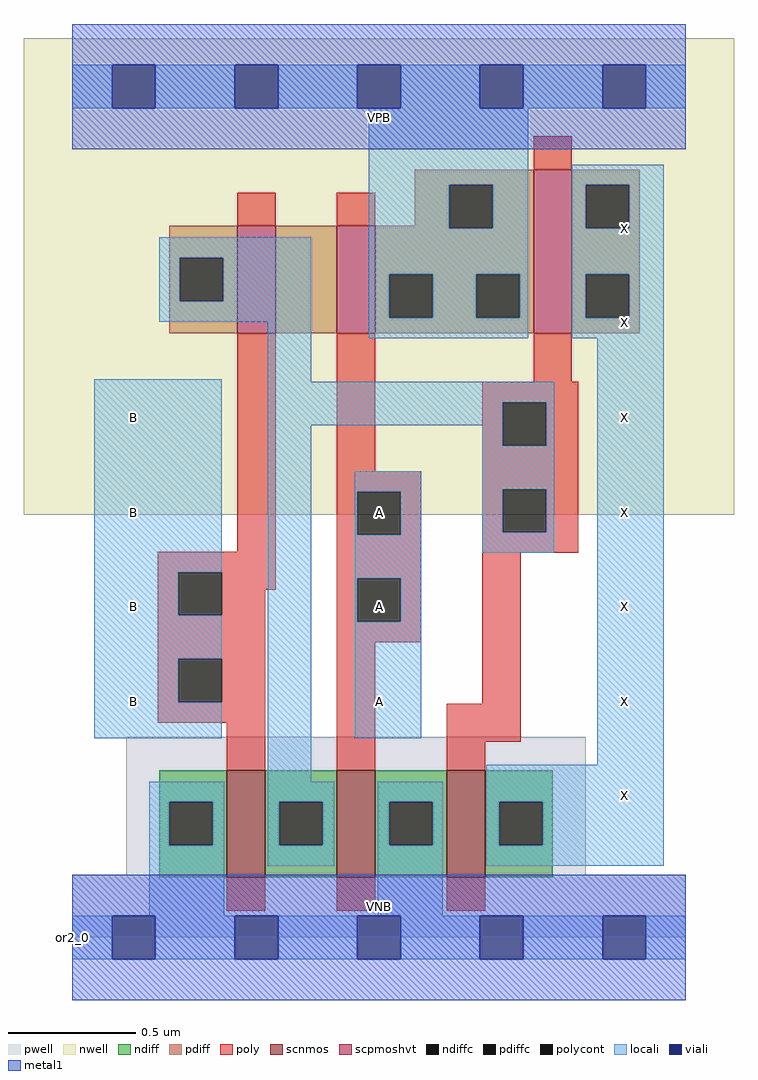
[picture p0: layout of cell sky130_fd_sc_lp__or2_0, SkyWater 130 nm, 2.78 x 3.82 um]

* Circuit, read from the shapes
.subckt sky130_fd_sc_lp__or2_0 A B VGND VNB VPB VPWR X
XM1 n1 B VGND VNB sky130_fd_pr__nfet_01v8 w=0.42 l=0.15
XM2 VGND A n1 VNB sky130_fd_pr__nfet_01v8 w=0.42 l=0.15
XM3 X n1 VGND VNB sky130_fd_pr__nfet_01v8 w=0.42 l=0.15
XM4 n2 B n1 VPB sky130_fd_pr__pfet_01v8_hvt w=0.42 l=0.15
XM5 VPWR A n2 VPB sky130_fd_pr__pfet_01v8_hvt w=0.42 l=0.15
XM6 X n1 VPWR VPB sky130_fd_pr__pfet_01v8_hvt w=0.64 l=0.15
.ends

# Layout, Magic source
magic
tech sky130A
magscale 1 2
<< nwell >>
rect -38 331 518 704
<< pwell >>
rect 42 49 402 157
rect 0 0 480 49
<< scnmos >>
rect 121 47 151 131
rect 207 47 237 131
rect 293 47 323 131
<< scpmoshvt >>
rect 129 473 159 557
rect 207 473 237 557
rect 361 473 391 601
<< ndiff >>
rect 68 106 121 131
rect 68 72 76 106
rect 110 72 121 106
rect 68 47 121 72
rect 151 106 207 131
rect 151 72 162 106
rect 196 72 207 106
rect 151 47 207 72
rect 237 106 293 131
rect 237 72 248 106
rect 282 72 293 106
rect 237 47 293 72
rect 323 106 376 131
rect 323 72 334 106
rect 368 72 376 106
rect 323 47 376 72
<< pdiff >>
rect 268 589 361 601
rect 268 557 295 589
rect 76 532 129 557
rect 76 498 84 532
rect 118 498 129 532
rect 76 473 129 498
rect 159 473 207 557
rect 237 555 295 557
rect 329 555 361 589
rect 237 519 361 555
rect 237 485 248 519
rect 282 485 316 519
rect 350 485 361 519
rect 237 473 361 485
rect 391 589 444 601
rect 391 555 402 589
rect 436 555 444 589
rect 391 519 444 555
rect 391 485 402 519
rect 436 485 444 519
rect 391 473 444 485
<< ndiffc >>
rect 76 72 110 106
rect 162 72 196 106
rect 248 72 282 106
rect 334 72 368 106
<< pdiffc >>
rect 84 498 118 532
rect 295 555 329 589
rect 248 485 282 519
rect 316 485 350 519
rect 402 555 436 589
rect 402 485 436 519
<< poly >>
rect 361 601 391 627
rect 129 557 159 583
rect 207 557 237 583
rect 129 302 159 473
rect 67 286 159 302
rect 67 252 83 286
rect 117 272 159 286
rect 207 365 237 473
rect 361 435 391 473
rect 321 419 396 435
rect 321 385 337 419
rect 371 385 396 419
rect 207 349 273 365
rect 207 315 223 349
rect 257 315 273 349
rect 207 281 273 315
rect 117 252 151 272
rect 67 218 151 252
rect 67 184 83 218
rect 117 184 151 218
rect 67 168 151 184
rect 121 131 151 168
rect 207 247 223 281
rect 257 247 273 281
rect 207 231 273 247
rect 321 351 396 385
rect 321 317 337 351
rect 371 317 396 351
rect 321 301 396 317
rect 207 131 237 231
rect 321 183 351 301
rect 293 153 351 183
rect 293 131 323 153
rect 121 21 151 47
rect 207 21 237 47
rect 293 21 323 47
<< polycont >>
rect 83 252 117 286
rect 337 385 371 419
rect 223 315 257 349
rect 83 184 117 218
rect 223 247 257 281
rect 337 317 371 351
<< locali >>
rect 0 649 31 683
rect 65 649 127 683
rect 161 649 223 683
rect 257 649 319 683
rect 353 649 415 683
rect 449 649 480 683
rect 232 589 357 649
rect 232 555 295 589
rect 329 555 357 589
rect 68 532 187 548
rect 68 498 84 532
rect 118 498 187 532
rect 68 482 187 498
rect 17 286 117 437
rect 17 252 83 286
rect 17 218 117 252
rect 17 184 83 218
rect 17 156 117 184
rect 153 435 187 482
rect 232 519 357 555
rect 232 485 248 519
rect 282 485 316 519
rect 350 485 357 519
rect 232 469 357 485
rect 391 589 463 605
rect 391 555 402 589
rect 436 555 463 589
rect 391 519 463 555
rect 391 485 402 519
rect 436 485 463 519
rect 391 469 463 485
rect 153 419 377 435
rect 153 401 337 419
rect 153 122 187 401
rect 321 385 337 401
rect 371 385 377 419
rect 221 349 273 365
rect 221 315 223 349
rect 257 315 273 349
rect 221 281 273 315
rect 321 351 377 385
rect 321 317 337 351
rect 371 317 377 351
rect 321 301 377 317
rect 221 247 223 281
rect 257 247 273 281
rect 221 156 273 247
rect 411 135 463 469
rect 60 106 119 122
rect 60 72 76 106
rect 110 72 119 106
rect 60 17 119 72
rect 153 106 205 122
rect 153 72 162 106
rect 196 72 205 106
rect 153 56 205 72
rect 239 106 290 122
rect 239 72 248 106
rect 282 72 290 106
rect 239 17 290 72
rect 324 106 463 135
rect 324 72 334 106
rect 368 72 463 106
rect 324 56 463 72
rect 0 -17 31 17
rect 65 -17 127 17
rect 161 -17 223 17
rect 257 -17 319 17
rect 353 -17 415 17
rect 449 -17 480 17
<< viali >>
rect 31 649 65 683
rect 127 649 161 683
rect 223 649 257 683
rect 319 649 353 683
rect 415 649 449 683
rect 31 -17 65 17
rect 127 -17 161 17
rect 223 -17 257 17
rect 319 -17 353 17
rect 415 -17 449 17
<< metal1 >>
rect 0 683 480 715
rect 0 649 31 683
rect 65 649 127 683
rect 161 649 223 683
rect 257 649 319 683
rect 353 649 415 683
rect 449 649 480 683
rect 0 617 480 649
rect 0 17 480 49
rect 0 -17 31 17
rect 65 -17 127 17
rect 161 -17 223 17
rect 257 -17 319 17
rect 353 -17 415 17
rect 449 -17 480 17
rect 0 -49 480 -17
<< labels >>
flabel pwell s 0 0 480 49 0 FreeSans 200 0 0 0 VNB
port 4 nsew ground bidirectional
flabel nwell s 0 617 480 666 0 FreeSans 200 0 0 0 VPB
port 5 nsew power bidirectional
rlabel comment s 0 0 0 0 4 or2_0
flabel metal1 s 0 617 480 666 0 FreeSans 340 0 0 0 VPWR
port 6 nsew power bidirectional
flabel metal1 s 0 0 480 49 0 FreeSans 340 0 0 0 VGND
port 3 nsew ground bidirectional
flabel locali s 415 94 449 128 0 FreeSans 340 0 0 0 X
port 7 nsew signal output
flabel locali s 415 168 449 202 0 FreeSans 340 0 0 0 X
port 7 nsew signal output
flabel locali s 415 242 449 276 0 FreeSans 340 0 0 0 X
port 7 nsew signal output
flabel locali s 415 316 449 350 0 FreeSans 340 0 0 0 X
port 7 nsew signal output
flabel locali s 415 390 449 424 0 FreeSans 340 0 0 0 X
port 7 nsew signal output
flabel locali s 415 464 449 498 0 FreeSans 340 0 0 0 X
port 7 nsew signal output
flabel locali s 415 538 449 572 0 FreeSans 340 0 0 0 X
port 7 nsew signal output
flabel locali s 223 168 257 202 0 FreeSans 340 0 0 0 A
port 1 nsew signal input
flabel locali s 223 242 257 276 0 FreeSans 340 0 0 0 A
port 1 nsew signal input
flabel locali s 223 316 257 350 0 FreeSans 340 0 0 0 A
port 1 nsew signal input
flabel locali s 31 168 65 202 0 FreeSans 340 0 0 0 B
port 2 nsew signal input
flabel locali s 31 242 65 276 0 FreeSans 340 0 0 0 B
port 2 nsew signal input
flabel locali s 31 316 65 350 0 FreeSans 340 0 0 0 B
port 2 nsew signal input
flabel locali s 31 390 65 424 0 FreeSans 340 0 0 0 B
port 2 nsew signal input
<< properties >>
string LEFsite unit
string LEFclass CORE
string FIXED_BBOX 0 0 480 666
string GDS_FILE $PDKPATH/libs.ref/sky130_fd_sc_lp/gds/sky130_fd_sc_lp.gds
string LEFsymmetry X Y R90
string GDS_END 6171594
string GDS_START 6165738
<< end >>
